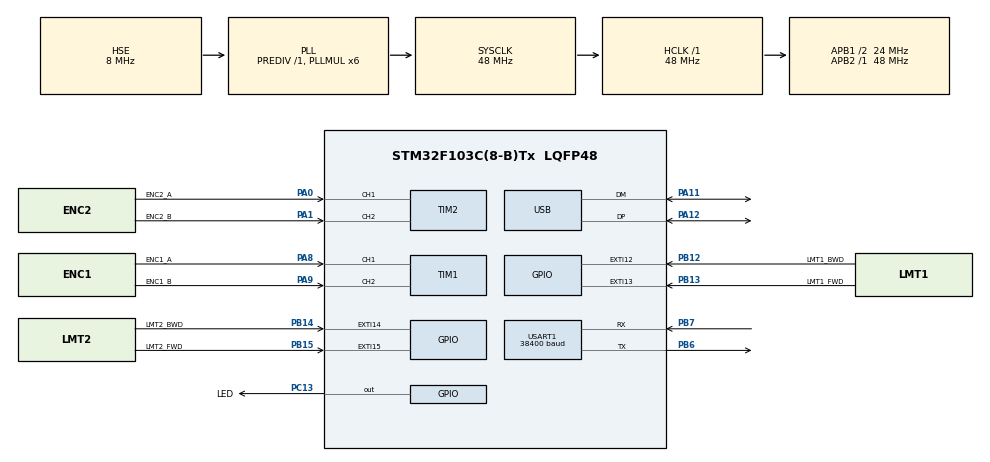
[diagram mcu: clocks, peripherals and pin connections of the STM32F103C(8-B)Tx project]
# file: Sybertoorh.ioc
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Mcu.Family=STM32F1
Mcu.Name=STM32F103C(8-B)Tx
Mcu.Package=LQFP48
NVIC.EXTI15_10_IRQn=true\:0\:0\:false\:false\:true\:true\:true
NVIC.PriorityGroup=NVIC_PRIORITYGROUP_4
NVIC.USB_LP_CAN1_RX0_IRQn=true\:0\:0\:false\:false\:true\:false\:true
PA0-WKUP.GPIO_Label=ENC2_A
PA0-WKUP.Signal=S_TIM2_CH1_ETR
PA1.GPIO_Label=ENC2_B
PA1.GPIO_PuPd=GPIO_PULLUP
PA1.Signal=S_TIM2_CH2
PA11.Mode=Device
PA11.Signal=USB_DM
PA12.Mode=Device
PA12.Signal=USB_DP
PA13.Mode=Serial_Wire
PA13.Signal=SYS_JTMS-SWDIO
PA14.Mode=Serial_Wire
PA14.Signal=SYS_JTCK-SWCLK
PA8.GPIO_Label=ENC1_A
PA8.GPIO_PuPd=GPIO_PULLUP
PA8.Signal=S_TIM1_CH1
PA9.GPIO_Label=ENC1_B
PA9.GPIO_PuPd=GPIO_PULLUP
PA9.Signal=S_TIM1_CH2
PB12.GPIO_Label=LMT1_BWD
PB12.Signal=GPXTI12
PB13.GPIO_Label=LMT1_FWD
PB13.Signal=GPXTI13
PB14.GPIO_Label=LMT2_BWD
PB14.Signal=GPXTI14
PB15.GPIO_Label=LMT2_FWD
PB15.Signal=GPXTI15
PB6.Mode=Asynchronous
PB6.Signal=USART1_TX
PB7.Mode=Asynchronous
PB7.Signal=USART1_RX
PC13-TAMPER-RTC.GPIO_Label=LED
PC13-TAMPER-RTC.PinState=GPIO_PIN_RESET
PC13-TAMPER-RTC.Signal=GPIO_Output
PD0-OSC_IN.Mode=HSE-External-Oscillator
PD0-OSC_IN.Signal=RCC_OSC_IN
PD1-OSC_OUT.Mode=HSE-External-Oscillator
PD1-OSC_OUT.Signal=RCC_OSC_OUT
ProjectManager.HeapSize=0x200
ProjectManager.StackSize=0x400
ProjectManager.TargetToolchain=STM32CubeIDE
RCC.AHBFreq_Value=48000000
RCC.APB1CLKDivider=RCC_HCLK_DIV2
RCC.APB1Freq_Value=24000000
RCC.APB1TimFreq_Value=48000000
RCC.APB2Freq_Value=48000000
RCC.APB2TimFreq_Value=48000000
RCC.HCLKFreq_Value=48000000
RCC.PLLMUL=RCC_PLL_MUL6
RCC.SYSCLKFreq_VALUE=48000000
RCC.SYSCLKSource=RCC_SYSCLKSOURCE_PLLCLK
RCC.USBFreq_Value=48000000
SH.S_TIM1_CH1.0=TIM1_CH1,Encoder_Interface
SH.S_TIM1_CH2.0=TIM1_CH2,Encoder_Interface
SH.S_TIM2_CH1_ETR.0=TIM2_CH1,Encoder_Interface
SH.S_TIM2_CH2.0=TIM2_CH2,Encoder_Interface
USART1.BaudRate=38400
USART1.Mode=MODE_TX
USART1.VirtualMode=VM_ASYNC
USB_DEVICE.APP_RX_DATA_SIZE=512
USB_DEVICE.APP_TX_DATA_SIZE=512
USB_DEVICE.CLASS_NAME_FS=CDC
USB_DEVICE.USBD_MAX_STR_DESC_SIZ=512
USB_DEVICE.USBD_SELF_POWERED=0
USB_DEVICE.VirtualMode=Cdc
USB_DEVICE.VirtualModeFS=Cdc_FS
VP_CRC_VS_CRC.Mode=CRC_Activate
VP_USB_DEVICE_VS_USB_DEVICE_CDC_FS.Mode=CDC_FS
board=custom

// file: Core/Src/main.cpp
/* USER CODE BEGIN Header */
/**
  ******************************************************************************
  * @file           : main.cpp
  * @brief          : Main program body
  ******************************************************************************
  * @attention
  *
  * <h2><center>&copy; Copyright (c) 2020 STMicroelectronics.
  * All rights reserved.</center></h2>
  *
  * This software component is licensed by ST under Ultimate Liberty license
  * SLA0044, the "License"; You may not use this file except in compliance with
  * the License. You may obtain a copy of the License at:
  *                             www.st.com/SLA0044
  *
  ******************************************************************************
  */
/*
 * author Boris Pavlenko <bor-pavlenko@yandex.ru>
 */
/* USER CODE END Header */

#include "main.h"
#include "crc.h"
#include "tim.h"
#include "usart.h"
#include "usb_device.h"
#include "gpio.h"

/* USER CODE BEGIN Includes */
#include "usbd_cdc_if.h"
#include "DriverMonitor.h"
#include "MotorUnit.h"
#include "SabertoothSimplified.h"
#include "XPIDController.h"
/* USER CODE END Includes */

/* USER CODE BEGIN PD */

#define RELEASE_LIMIT_CYCLES 	5
#define PID_DT					10
/* USER CODE END PD */

/* USER CODE BEGIN PV */

DriverMonitor monitor;

SabertoothSimplified ST(driver_port_write);

XPIDController PID_L, PID_R;

MotorUnit leftMotorUnit(eLeftMotor, &PID_L, &ST, HAL_GetTick);
MotorUnit rightMotorUnit(eRightMotor, &PID_R, &ST, HAL_GetTick);

//uint32_t last_LSW_tick = 0; 		// Last Limit Switch hit tick
uint8_t L_BWD_lmt, L_FWD_lmt, R_BWD_lmt, R_FWD_lmt;
char _lmt_str[] = "LMT1_BWD\r\n\0";
uint32_t prev_tick, now, dt;

/* USER CODE END PV */

void SystemClock_Config(void);
/* USER CODE BEGIN PFP */
void RefreshLimitSwitches(void);
/* USER CODE END PFP */

int main(void)
{
  /* USER CODE BEGIN 1 */

	leftMotorUnit.SetTargetRange(0,  3961);
	rightMotorUnit.SetTargetRange(0, 3961);

	leftMotorUnit.pPosition = &(TIM1->CNT);
	rightMotorUnit.pPosition = &(TIM2->CNT);

//	ST.motor1_inversion = eInvertesionOn;
	monitor.Start(TxBuffer, &ST);
	monitor.pLeftMotorUnit = &leftMotorUnit;
	monitor.pRightMotorUnit = &rightMotorUnit;
	monitor.pPID_L = &PID_L;
	monitor.pPID_R = &PID_R;

  /* USER CODE END 1 */

  /* MCU Configuration--------------------------------------------------------*/

  /* Reset of all peripherals, Initializes the Flash interface and the Systick. */
  HAL_Init();

  /* Configure the system clock */
  SystemClock_Config();

  /* Initialize all configured peripherals */
  MX_GPIO_Init();
  MX_TIM1_Init();
  MX_TIM2_Init();
  MX_USART1_UART_Init();
  MX_USB_DEVICE_Init();
  MX_CRC_Init();
  /* USER CODE BEGIN 2 */
  // На всякий случай при сбросе первым делом посылаем команду СТОП.
  driver_port_write(0);
  driver_port_write(0);
  driver_port_write(0);
  HAL_Delay(50);
  driver_port_write(0);
  HAL_Delay(50);
  driver_port_write(0);

  if (! isLimitSwitchReleased(LMT1_BWD_Pin))
  {
	  leftMotorUnit.HappendEvent(HIT_BWD, OnEvent);
  }
  if (! isLimitSwitchReleased(LMT1_FWD_Pin))
  {
	  leftMotorUnit.HappendEvent(HIT_FWD, OnEvent);
  }
  if (! isLimitSwitchReleased(LMT2_BWD_Pin))
  {
	  rightMotorUnit.HappendEvent(HIT_BWD, OnEvent);
  }
  if (! isLimitSwitchReleased(LMT2_FWD_Pin))
  {
	  rightMotorUnit.HappendEvent(HIT_FWD, OnEvent);
  }

  HAL_Delay(9500);

  SAY("Sybertooth driver %s \r\n", VERSION);
  SAY("Loading settings...\r\n");
  BLINK(); BLINK(); LED_ON();
  if (monitor.Load() != 0)
  {
	  SAY("Loading setting from flash failed!\r\n");
	  monitor.Set_PID_default();
	  SAY("Initilazed defaut settings.\r\n");
  }
  else
  {
	  SAY("Setting loaded successfully.\r\n");
  }

  LED_OFF();

  HAL_TIM_Encoder_Start(&htim1, TIM_CHANNEL_1 | TIM_CHANNEL_2);
  HAL_TIM_Encoder_Start(&htim2, TIM_CHANNEL_1 | TIM_CHANNEL_2);

  leftMotorUnit.RequestCalibration();
  rightMotorUnit.RequestCalibration();

  /* USER CODE END 2 */

  /* Infinite loop */
  /* USER CODE BEGIN WHILE */

  while (1)
  {
	  monitor.Parse();
	  monitor.Execute();

	  // calc target
	  if (now != HAL_GetTick())
	  {
		  now = HAL_GetTick();
		  RefreshLimitSwitches();
		  dt = now - prev_tick;
		  if (dt > PID_DT)
		  {
			  leftMotorUnit.CalcPID(dt);
			  rightMotorUnit.CalcPID(dt);
			  prev_tick = now;
		  }
	  }
	  // calc speed
	  leftMotorUnit.GetSpeed();
	  rightMotorUnit.GetSpeed();
	  // speed command
	  leftMotorUnit.Drive();
	  rightMotorUnit.Drive();

    /* USER CODE END WHILE */

  }
}

void SystemClock_Config(void)
{
  RCC_OscInitTypeDef RCC_OscInitStruct = {0};
  RCC_ClkInitTypeDef RCC_ClkInitStruct = {0};
  RCC_PeriphCLKInitTypeDef PeriphClkInit = {0};

  /** Initializes the RCC Oscillators according to the specified parameters
  * in the RCC_OscInitTypeDef structure.
  */
  RCC_OscInitStruct.OscillatorType = RCC_OSCILLATORTYPE_HSE;
  RCC_OscInitStruct.HSEState = RCC_HSE_ON;
  RCC_OscInitStruct.HSEPredivValue = RCC_HSE_PREDIV_DIV1;
  RCC_OscInitStruct.HSIState = RCC_HSI_ON;
  RCC_OscInitStruct.PLL.PLLState = RCC_PLL_ON;
  RCC_OscInitStruct.PLL.PLLSource = RCC_PLLSOURCE_HSE;
  RCC_OscInitStruct.PLL.PLLMUL = RCC_PLL_MUL6;
  if (HAL_RCC_OscConfig(&RCC_OscInitStruct) != HAL_OK)
  {
    Error_Handler();
  }
  /** Initializes the CPU, AHB and APB buses clocks
  */
  RCC_ClkInitStruct.ClockType = RCC_CLOCKTYPE_HCLK|RCC_CLOCKTYPE_SYSCLK
                              |RCC_CLOCKTYPE_PCLK1|RCC_CLOCKTYPE_PCLK2;
  RCC_ClkInitStruct.SYSCLKSource = RCC_SYSCLKSOURCE_PLLCLK;
  RCC_ClkInitStruct.AHBCLKDivider = RCC_SYSCLK_DIV1;
  RCC_ClkInitStruct.APB1CLKDivider = RCC_HCLK_DIV2;
  RCC_ClkInitStruct.APB2CLKDivider = RCC_HCLK_DIV1;

  if (HAL_RCC_ClockConfig(&RCC_ClkInitStruct, FLASH_LATENCY_1) != HAL_OK)
  {
    Error_Handler();
  }
  PeriphClkInit.PeriphClockSelection = RCC_PERIPHCLK_USB;
  PeriphClkInit.UsbClockSelection = RCC_USBCLKSOURCE_PLL;
  if (HAL_RCCEx_PeriphCLKConfig(&PeriphClkInit) != HAL_OK)
  {
    Error_Handler();
  }
}

/* USER CODE BEGIN 4 */
/**
 * LIMIT SWITCHES CALLBACK
 * Detects if Limit Switch was hitted.
 * Stops motors in normal mode.
 * @param GPIO_Pin
 * Rising EDGE Trigger detection
 */
void HAL_GPIO_EXTI_Callback(uint16_t GPIO_Pin)
{
	if (GPIO_Pin == LMT1_BWD_Pin)
	{
		L_BWD_lmt = RELEASE_LIMIT_CYCLES;
		leftMotorUnit.HappendEvent(HIT_BWD, OnEvent);
		_lmt_str[3] = '1';
		_lmt_str[5] = 'B';
	}
	else if (GPIO_Pin == LMT1_FWD_Pin)
	{
		L_FWD_lmt = RELEASE_LIMIT_CYCLES;
		leftMotorUnit.HappendEvent(HIT_FWD, OnEvent);
		_lmt_str[3] = '1';
		_lmt_str[5] = 'F';
	}
	else if (GPIO_Pin == LMT2_BWD_Pin)
	{
		R_BWD_lmt = RELEASE_LIMIT_CYCLES;
		rightMotorUnit.HappendEvent(HIT_BWD, OnEvent);
		_lmt_str[3] = '2';
		_lmt_str[5] = 'B';
	}
	else if (GPIO_Pin == LMT2_FWD_Pin)
	{
		R_FWD_lmt = RELEASE_LIMIT_CYCLES;
		rightMotorUnit.HappendEvent(HIT_FWD, OnEvent);
		_lmt_str[3] = '2';
		_lmt_str[5] = 'F';
	}

	SAY(_lmt_str);
//	monitor.HitLimitSwitch(GPIO_Pin);
}

uint32_t calc_flash_checksum(uint32_t* _data)
{
	return HAL_CRC_Calculate(&hcrc, _data, 255);
}

void RefreshLimitSwitches(void)
{
	if (L_BWD_lmt && isLimitSwitchReleased(LMT1_BWD_Pin))
	{
		L_BWD_lmt--;
		if (L_BWD_lmt == 0)
		{
			leftMotorUnit.HappendEvent(HIT_BWD, OutEvent);
		}
	}
	if (L_FWD_lmt && isLimitSwitchReleased(LMT1_FWD_Pin))
	{
		L_FWD_lmt--;
		if (L_FWD_lmt == 0)
		{
			leftMotorUnit.HappendEvent(HIT_FWD, OutEvent);
		}
	}
	if (R_BWD_lmt && isLimitSwitchReleased(LMT2_BWD_Pin))
	{
		R_BWD_lmt--;
		if (R_BWD_lmt == 0)
		{
			rightMotorUnit.HappendEvent(HIT_BWD, OutEvent);
		}
	}
	if (R_FWD_lmt && isLimitSwitchReleased(LMT2_FWD_Pin))
	{
		R_FWD_lmt--;
		if (R_FWD_lmt == 0)
		{
			rightMotorUnit.HappendEvent(HIT_FWD, OutEvent);
		}
	}
}
/* USER CODE END 4 */

void Error_Handler(void)
{
}

/************************ (C) COPYRIGHT STMicroelectronics *****END OF FILE****/
